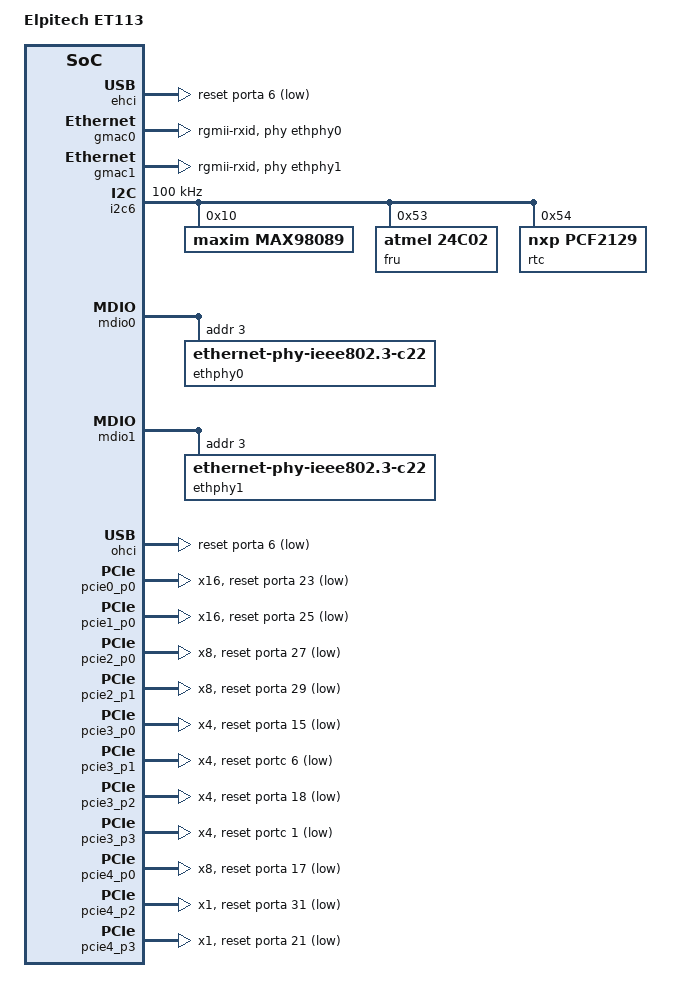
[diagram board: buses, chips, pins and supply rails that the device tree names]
// SPDX-License-Identifier: GPL-2.0
/*
 * Device tree source for Elpitech ET113 board
 * Copyright (C) 2022 Elpitech
 */

/dts-v1/;

#include "bs1000.dtsi"
#include "bs-et-common.dtsi"
#include <dt-bindings/gpio/gpio.h>
#include <dt-bindings/net/realtek-phy-rtl8211f.h>

/ {
	model = "Elpitech ET113";
	compatible = "baikal,bs1000";

	aliases {
		ethernet0 = &gmac0;
		ethernet1 = &gmac1;
		fru = &fru;
	};

	chosen { };
};

&ehci {
	status = "okay";
	reset-gpios = <&porta 6 GPIO_ACTIVE_LOW>;
};

&gmac0 {
	status = "okay";
	snps,reset-gpios = <&portb 4 GPIO_ACTIVE_LOW>;
	snps,reset-delays-us = <10>, <10000>, <50000>;
	phy-handle = <&ethphy0>;
	phy-mode = "rgmii-rxid";
};

&gmac1 {
	status = "okay";
	snps,reset-gpios = <&portb 5 GPIO_ACTIVE_LOW>;
	snps,reset-delays-us = <10>, <10000>, <50000>;
	phy-handle = <&ethphy1>;
	phy-mode = "rgmii-rxid";
};

&i2c6 {
	status = "okay";
	clock-frequency = <100000>;

	max98089: codec@10 {
		compatible = "maxim,max98089";
		reg = <0x10>;
	};

	fru: eeprom@53 {
		compatible = "atmel,24c02";
		reg = <0x53>;
	};

	rtc@54 {
		compatible = "nxp,pcf2129", "nxp,pcf2127";
		reg = <0x54>;
	};
};

&mdio0 {
	ethphy0: ethernet-phy@1 {
		compatible = "ethernet-phy-ieee802.3-c22";
		reg = <0x3>;
		realtek,led-mode = <RTL8211F_LED_MODE_B>;
		realtek,led0-control = <RTL8211F_LINK10_1000_ACT>;
		realtek,led1-control = <RTL8211F_LINK100_1000>;
	};
};

&mdio1 {
	ethphy1: ethernet-phy@1 {
		compatible = "ethernet-phy-ieee802.3-c22";
		reg = <0x3>;
		realtek,led-mode = <RTL8211F_LED_MODE_B>;
		realtek,led0-control = <RTL8211F_LINK10_1000_ACT>;
		realtek,led1-control = <RTL8211F_LINK100_1000>;
	};
};

&ohci {
	status = "okay";
	reset-gpios = <&porta 6 GPIO_ACTIVE_LOW>;
};

&pcie0_p0 {
	status = "okay";
	num-lanes = <16>;
	reset-gpios = <&porta 23 GPIO_ACTIVE_LOW>;
	cpu-addr-bits = <39>;
	max-link-speed = <3>;
	dma-coherent;
};

&pcie1_p0 {
	status = "okay";
	num-lanes = <16>;
	reset-gpios = <&porta 25 GPIO_ACTIVE_LOW>;
	cpu-addr-bits = <39>;
	max-link-speed = <3>;
};

&pcie2_p0 {
	status = "okay";
	num-lanes = <8>;
	reset-gpios = <&porta 27 GPIO_ACTIVE_LOW>;
	cpu-addr-bits = <39>;
};

&pcie2_p1 {
	status = "okay";
	num-lanes = <8>;
	reset-gpios = <&porta 29 GPIO_ACTIVE_LOW>;
	cpu-addr-bits = <39>;
};

&pcie3_p0 {
	status = "okay";
	num-lanes = <4>;
	reset-gpios = <&porta 15 GPIO_ACTIVE_LOW>;
	cpu-addr-bits = <40>;
};

&pcie3_p1 {
	status = "okay";
	num-lanes = <4>;
	reset-gpios = <&portc 6 GPIO_ACTIVE_LOW>;
	cpu-addr-bits = <40>;
};

&pcie3_p2 {
	status = "okay";
	num-lanes = <4>;
	reset-gpios = <&porta 18 GPIO_ACTIVE_LOW>;
	cpu-addr-bits = <40>;
};

&pcie3_p3 {
	status = "okay";
	num-lanes = <4>;
	reset-gpios = <&portc 1 GPIO_ACTIVE_LOW>;
	cpu-addr-bits = <40>;
};

&pcie4_p0 {
	status = "okay";
	num-lanes = <8>;
	reset-gpios = <&porta 17 GPIO_ACTIVE_LOW>;
	cpu-addr-bits = <40>;
};

&pcie4_p2 {
	status = "okay";
	num-lanes = <1>;
	reset-gpios = <&porta 31 GPIO_ACTIVE_LOW>;
	cpu-addr-bits = <40>;
};

&pcie4_p3 {
	status = "okay";
	num-lanes = <1>;
	reset-gpios = <&porta 21 GPIO_ACTIVE_LOW>;
	cpu-addr-bits = <40>;
};
